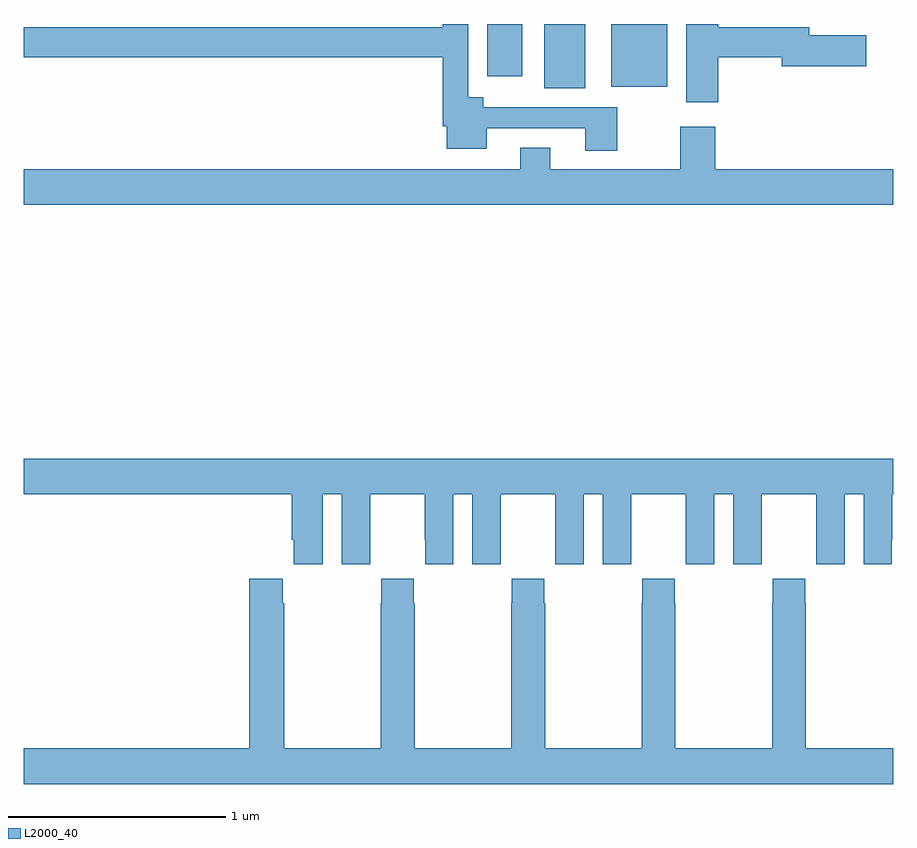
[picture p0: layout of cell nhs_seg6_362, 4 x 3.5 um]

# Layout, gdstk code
import gdstk
lib = gdstk.Library(unit=1e-6, precision=1e-09)
def R(c, l, rs):  # rectangles x0, y0, x1, y1
    for r in rs: c.add(gdstk.rectangle(r[:2], r[2:], *l))
def P(c, l, *ps):  # polygons
    for p in ps: c.add(gdstk.Polygon(p, *l))
L2000_40 = (2000, 40)

nhs_seg6_362 = lib.new_cell('nhs_seg6_362')
R(nhs_seg6_362, L2000_40, [(133.394,949.205,133.582,949.5), (133.703,949.211,133.96,949.5), (133.133,949.26,133.294,949.5)])
P(nhs_seg6_362, L2000_40, [(134.195,949.348),(134.486,949.348),(134.486,949.306),(134.875,949.306),(134.875,949.448),(134.614,949.448),(134.614,949.484),(134.195,949.484),(134.195,949.5),(134.048,949.5),(134.048,949.14),(134.195,949.14)],
  [(133.731,949.116),(133.114,949.116),(133.114,949.162),(133.044,949.162),(133.044,949.5),(132.928,949.5),(132.928,949.484),(131,949.484),(131,949.348),(132.928,949.348),(132.928,949.03),(132.947,949.03),(132.947,948.926),(133.129,948.926),(133.129,949.02),(133.583,949.02),(133.583,948.918),(133.731,948.918)],
  [(135,948.832),(134.18,948.832),(134.18,949.027),(134.02,949.027),(134.02,948.832),(133.423,948.832),(133.423,948.931),(133.283,948.931),(133.283,948.832),(131,948.832),(131,948.668),(135,948.668)],
  [(132.376,947.336),(132.464,947.336),(132.464,947.016),(132.594,947.016),(132.594,947.128),(132.595,947.128),(132.595,947.336),(132.845,947.336),(132.845,947.128),(132.846,947.128),(132.846,947.016),(132.976,947.016),(132.976,947.336),(133.064,947.336),(133.064,947.016),(133.194,947.016),(133.194,947.128),(133.195,947.128),(133.195,947.336),(133.445,947.336),(133.445,947.128),(133.446,947.128),(133.446,947.016),(133.576,947.016),(133.576,947.336),(133.664,947.336),(133.664,947.016),(133.794,947.016),(133.794,947.128),(133.795,947.128),(133.795,947.336),(134.045,947.336),(134.045,947.128),(134.046,947.128),(134.046,947.016),(134.176,947.016),(134.176,947.336),(134.264,947.336),(134.264,947.016),(134.394,947.016),(134.394,947.128),(134.395,947.128),(134.395,947.336),(134.645,947.336),(134.645,947.128),(134.646,947.128),(134.646,947.016),(134.776,947.016),(134.776,947.336),(134.864,947.336),(134.864,947.016),(134.994,947.016),(134.994,947.128),(134.995,947.128),(134.995,947.336),(135,947.336),(135,947.5),(131,947.5),(131,947.336),(132.233,947.336),(132.233,947.128),(132.242,947.128),(132.242,947.016),(132.376,947.016)],
  [(135,946.168),(134.598,946.168),(134.598,946.835),(134.595,946.835),(134.595,946.948),(134.445,946.948),(134.445,946.835),(134.443,946.835),(134.443,946.168),(133.998,946.168),(133.998,946.835),(133.995,946.835),(133.995,946.948),(133.845,946.948),(133.845,946.835),(133.843,946.835),(133.843,946.168),(133.398,946.168),(133.398,946.835),(133.395,946.835),(133.395,946.948),(133.245,946.948),(133.245,946.835),(133.243,946.835),(133.243,946.168),(132.798,946.168),(132.798,946.835),(132.795,946.835),(132.795,946.948),(132.645,946.948),(132.645,946.835),(132.643,946.835),(132.643,946.168),(132.198,946.168),(132.198,946.835),(132.191,946.835),(132.191,946.948),(132.038,946.948),(132.038,946.168),(131,946.168),(131,946.004),(135,946.004)])

lib.write_gds('nhs_seg6_362.gds')
